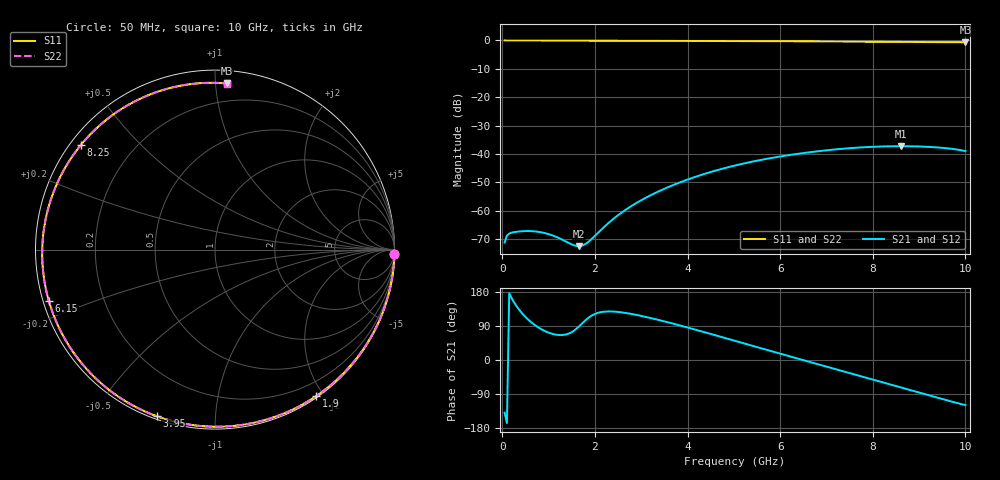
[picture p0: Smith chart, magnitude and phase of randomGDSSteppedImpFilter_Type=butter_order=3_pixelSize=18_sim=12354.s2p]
! freq	dB(S11)	phase(S11)	dB(S12)	phase(S12)
!  dB(S21)	phase(S21)	dB(S22)	phase(S22)
!S-par simulation data
#  GHz  S  DB  R 50
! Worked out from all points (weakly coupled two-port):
!   200 points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, 50 MHz to 10 GHz, reference 50 ohm
!   highest |S21| = -37.26 dB at 8.6 GHz (marker M1); lowest = -72.5 dB at 1.65 GHz (marker M2)
!   lowest |S11| = -0.7 dB at 10 GHz (marker M3), VSWR 26.71, Z = 4.02 + j53.5 ohm
!   |S11| at or under -10 dB: nowhere
!   |S22| runs from -0.7 to 0.0 dB; largest |S21 - S12| = 0
!   S11 on the Smith chart (normalised r, x): 50 MHz: 0, -76; 1.9 GHz: 0.02, -1.91; 3.95 GHz: 0.01, -0.71; 6.15 GHz: 0.02, -0.15; 8.25 GHz: 0.03, +0.34; 10 GHz: 0.08, +1.07
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0.05  -0.00 -1.5  -71.24 -139.0  -71.24 -139.0  -0.00 -1.5
0.1  -0.00 -3.0  -68.76 -166.4  -68.76 -166.4  -0.00 -3.0
0.15  -0.00 -4.5  -68.05 176.5  -68.05 176.5  -0.00 -4.5
0.65  -0.02 -19.4  -67.22 97.1  -67.22 97.1  -0.02 -19.4
1.05  -0.04 -31.1  -68.50 70.1  -68.50 70.1  -0.04 -31.1
1.65  -0.06 -48.3  -72.50 87.9  -72.50 87.9  -0.06 -48.4
1.75  -0.06 -51.1  -72.13 99.6  -72.13 99.6  -0.06 -51.2
1.9  -0.07 -55.3  -70.42 114.8  -70.42 114.8  -0.07 -55.4
2.3  -0.08 -66.4  -64.23 128.2  -64.23 128.2  -0.08 -66.4
2.6  -0.09 -74.5  -60.39 125.3  -60.39 125.3  -0.09 -74.5
3.4  -0.12 -95.4  -53.00 104.9  -53.00 104.9  -0.12 -95.5
3.95  -0.15 -109.3  -49.31 87.5  -49.31 87.5  -0.15 -109.4
5.05  -0.20 -136.2  -43.97 49.7  -43.97 49.7  -0.20 -136.3
5.6  -0.24 -149.5  -42.05 30.6  -42.05 30.6  -0.24 -149.6
6.15  -0.27 -162.9  -40.50 11.6  -40.50 11.6  -0.27 -163.0
6.7  -0.32 -176.6  -39.26 -7.2  -39.26 -7.2  -0.32 -176.6
7.5  -0.39 162.8  -37.97 -34.7  -37.97 -34.7  -0.39 162.7
8.25  -0.47 142.0  -37.34 -60.5  -37.34 -60.5  -0.47 141.9
8.35  -0.48 139.1  -37.30 -64.0  -37.30 -64.0  -0.48 139.0
8.6  -0.50 131.7  -37.26 -72.5  -37.26 -72.5  -0.50 131.6
9.35  -0.58 108.1  -37.64 -98.0  -37.64 -98.0  -0.58 108.0
10  -0.65 85.9  -38.97 -119.0  -38.97 -119.0  -0.65 85.8
